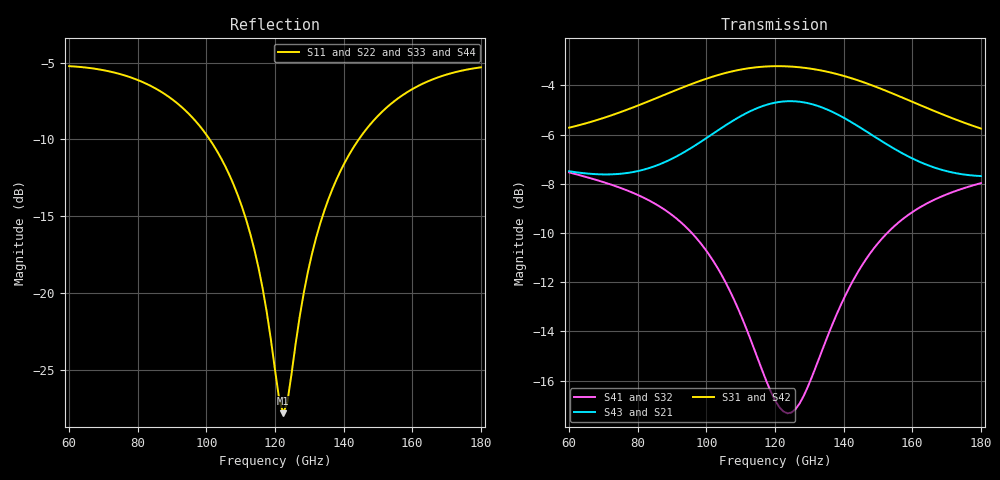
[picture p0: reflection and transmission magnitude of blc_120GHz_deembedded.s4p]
! Created with skrf 2.2.0 (http://scikit-rf.org).
# GHz S DB R 50.0
! Port[1] = P1
! Port[2] = P2
! Port[3] = P3
! Port[4] = P4
!freq dBS11 angS11 dBS12 angS12 dBS13 angS13
! dBS14 angS14
! dBS21 angS21 dBS22 angS22 dBS23 angS23
! dBS24 angS24
! dBS31 angS31 dBS32 angS32 dBS33 angS33
! dBS34 angS34
! dBS41 angS41 dBS42 angS42 dBS43 angS43
! dBS44 angS44
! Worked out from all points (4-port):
!   101 points, 60 GHz to 180 GHz, reference 50 ohm
!   strongest paths, dB at 60 GHz, 90 GHz, 120 GHz, 150 GHz, 180 GHz:
!     S31: -5.7, -4.3, -3.2, -4.1, -5.8
!     S42: -5.7, -4.3, -3.2, -4.1, -5.8
!     S43: -7.5, -7.0, -4.7, -6.2, -7.7
!     S21: -7.5, -7.0, -4.7, -6.2, -7.7
!     S41: -7.5, -9.3, -16.8, -10.4, -8.0
!     S32: -7.5, -9.3, -16.8, -10.4, -8.0
!   lowest |S11| = -27.8 dB at 122.4 GHz (marker M1), VSWR 1.08, Z = 54.2 - j0.000991 ohm
!   |S11| at or under -10 dB: 101 GHz to 144.4 GHz (43.44 GHz wide, 35.4 % of centre)
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60  -5.24 159.2  -7.50 -46.9  -5.72 -79.3  -7.54 -61.7
    -7.50 -46.9  -5.24 159.2  -7.54 -61.7  -5.72 -79.3
    -5.72 -79.3  -7.54 -61.7  -5.24 159.2  -7.49 -46.9
    -7.54 -61.7  -5.72 -79.3  -7.49 -46.9  -5.24 159.2
102  -10.35 110.2  -5.96 -67.4  -3.64 -142.9  -11.14 -107.9
     -5.96 -67.4  -10.34 110.2  -11.13 -107.9  -3.64 -142.9
     -3.64 -142.9  -11.13 -107.9  -10.36 110.2  -5.96 -67.4
     -11.14 -107.9  -3.64 -142.9  -5.96 -67.4  -10.35 110.3
112.8  -16.14 87.1  -5.05 -79.1  -3.30 -163.0  -14.30 -113.6
       -5.05 -79.1  -16.11 87.0  -14.30 -113.6  -3.30 -162.9
       -3.30 -163.0  -14.30 -113.6  -16.16 86.9  -5.05 -79.2
       -14.30 -113.6  -3.30 -162.9  -5.05 -79.2  -16.12 87.1
122.4  -27.80 -0.0  -4.65 -92.4  -3.22 178.7  -17.25 -96.8
       -4.65 -92.4  -27.67 0.5  -17.26 -96.9  -3.22 178.7
       -3.22 178.7  -17.26 -96.9  -27.66 -0.8  -4.66 -92.5
       -17.25 -96.8  -3.22 178.7  -4.66 -92.5  -27.74 0.5
130.8  -17.41 -86.4  -4.76 -104.5  -3.33 162.7  -15.83 -74.4
       -4.76 -104.5  -17.42 -86.1  -15.86 -74.4  -3.33 162.8
       -3.33 162.7  -15.86 -74.4  -17.36 -86.2  -4.77 -104.6
       -15.83 -74.4  -3.33 162.8  -4.77 -104.6  -17.42 -86.2
141.6  -10.99 -110.8  -5.44 -118.1  -3.68 142.7  -12.23 -72.7
       -5.44 -118.1  -10.99 -110.6  -12.25 -72.7  -3.68 142.8
       -3.68 142.7  -12.25 -72.7  -10.96 -110.6  -5.44 -118.2
       -12.23 -72.7  -3.68 142.8  -5.44 -118.2  -10.99 -110.7
180  -5.31 -157.3  -7.67 -141.7  -5.76 82.7  -7.98 -114.8
     -7.67 -141.7  -5.31 -157.2  -7.99 -114.8  -5.75 82.7
     -5.76 82.7  -7.99 -114.8  -5.30 -157.2  -7.69 -141.8
     -7.98 -114.8  -5.75 82.7  -7.69 -141.8  -5.31 -157.3
